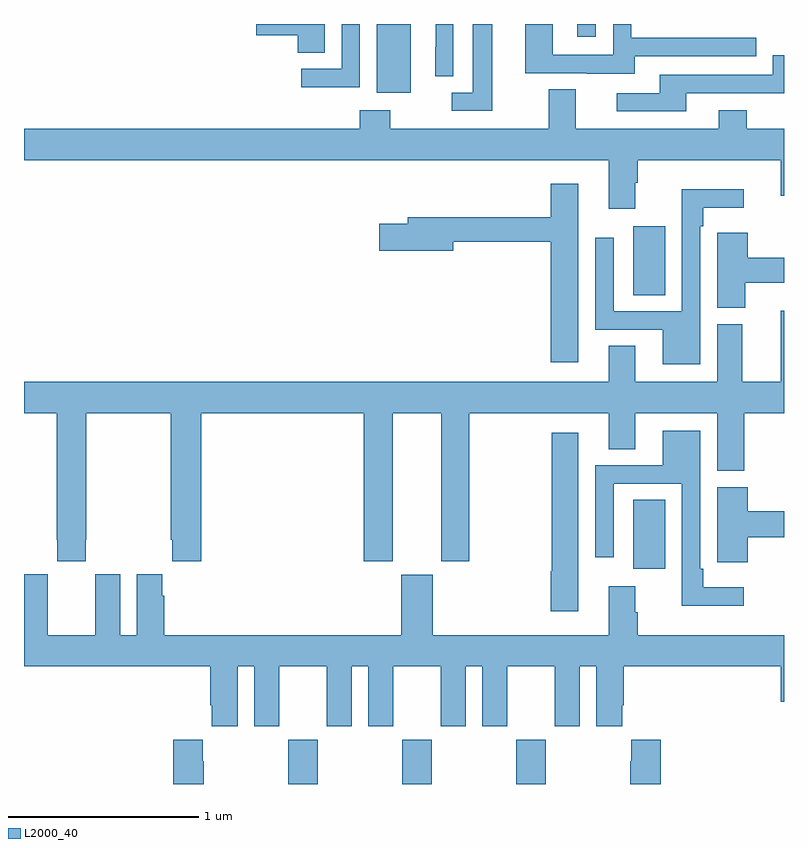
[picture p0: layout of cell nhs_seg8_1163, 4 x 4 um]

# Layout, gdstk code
import gdstk
lib = gdstk.Library(unit=1e-6, precision=1e-09)
def R(c, l, rs):  # rectangles x0, y0, x1, y1
    for r in rs: c.add(gdstk.rectangle(r[:2], r[2:], *l))
def A(c, l, x, y, w, h, nx, ny, dx, dy):  # array of equal rectangles
    R(c, l, [(x+i*dx, y+j*dy, x+i*dx+w, y+j*dy+h) for i in range(nx) for j in range(ny)])
def P(c, l, *ps):  # polygons
    for p in ps: c.add(gdstk.Polygon(p, *l))
L2000_40 = (2000, 40)

nhs_seg8_1163 = lib.new_cell('nhs_seg8_1163')
A(nhs_seg8_1163, L2000_40, 186.391, 1095.9, 0.155, 0.232, 3, 1, 0.6, 0)
R(nhs_seg8_1163, L2000_40, [(188.207,1097.034,188.374,1097.396), (188.207,1098.472,188.374,1098.835), (186.857,1099.538,187.036,1099.899), (187.913,1099.833,188.01,1099.9)])
P(nhs_seg8_1163, L2000_40, [(186.583,1099.9),(186.222,1099.9),(186.222,1099.841),(186.44,1099.841),(186.44,1099.75),(186.583,1099.75)],
  [(187.26,1099.9),(187.166,1099.9),(187.166,1099.778),(187.164,1099.778),(187.164,1099.624),(187.26,1099.624)],
  [(186.768,1099.9),(186.672,1099.9),(186.672,1099.665),(186.459,1099.665),(186.459,1099.567),(186.768,1099.567)],
  [(187.465,1099.9),(187.361,1099.9),(187.361,1099.539),(187.251,1099.539),(187.251,1099.443),(187.465,1099.443)],
  [(188.215,1099.731),(188.855,1099.731),(188.855,1099.827),(188.196,1099.827),(188.196,1099.9),(188.1,1099.9),(188.1,1099.737),(187.782,1099.737),(187.782,1099.9),(187.637,1099.9),(187.637,1099.641),(187.961,1099.641),(187.961,1099.637),(188.215,1099.637)],
  [(188.485,1099.536),(189,1099.536),(189,1099.735),(188.94,1099.735),(188.94,1099.632),(188.345,1099.632),(188.345,1099.536),(188.121,1099.536),(188.121,1099.44),(188.485,1099.44)],
  [(188.218,1099.064),(188.231,1099.064),(188.231,1099.184),(188.984,1099.184),(188.984,1098.996),(189,1098.996),(189,1099.348),(188.805,1099.348),(188.805,1099.447),(188.657,1099.447),(188.657,1099.348),(187.903,1099.348),(187.903,1099.556),(187.763,1099.556),(187.763,1099.348),(186.927,1099.348),(186.927,1099.447),(186.767,1099.447),(186.767,1099.348),(185,1099.348),(185,1099.184),(188.078,1099.184),(188.078,1098.927),(188.218,1098.927)],
  [(187.918,1099.06),(187.772,1099.06),(187.772,1098.883),(187.019,1098.883),(187.019,1098.849),(186.87,1098.849),(186.87,1098.707),(187.258,1098.707),(187.258,1098.754),(187.772,1098.754),(187.772,1098.12),(187.918,1098.12)],
  [(188.559,1098.836),(188.575,1098.836),(188.575,1098.932),(188.788,1098.932),(188.788,1099.03),(188.463,1099.03),(188.463,1098.387),(188.103,1098.387),(188.103,1098.775),(188.007,1098.775),(188.007,1098.291),(188.363,1098.291),(188.363,1098.11),(188.559,1098.11)],
  [(188.797,1098.539),(189,1098.539),(189,1098.669),(188.81,1098.669),(188.81,1098.802),(188.649,1098.802),(188.649,1098.689),(188.648,1098.689),(188.648,1098.406),(188.797,1098.406)],
  [(185.325,1097.185),(185.328,1097.185),(185.328,1097.852),(185.773,1097.852),(185.773,1097.185),(185.779,1097.185),(185.779,1097.073),(185.933,1097.073),(185.933,1097.852),(186.788,1097.852),(186.788,1097.073),(186.94,1097.073),(186.94,1097.852),(187.196,1097.852),(187.196,1097.073),(187.344,1097.073),(187.344,1097.852),(188.078,1097.852),(188.078,1097.662),(188.218,1097.662),(188.218,1097.852),(188.648,1097.852),(188.648,1097.548),(188.792,1097.548),(188.792,1097.852),(189,1097.852),(189,1098.391),(188.984,1098.391),(188.984,1098.016),(188.779,1098.016),(188.779,1098.321),(188.648,1098.321),(188.648,1098.016),(188.218,1098.016),(188.218,1098.206),(188.078,1098.206),(188.078,1098.016),(185,1098.016),(185,1097.852),(185.173,1097.852),(185.173,1097.185),(185.175,1097.185),(185.175,1097.073),(185.325,1097.073)],
  [(188.788,1096.936),(188.575,1096.936),(188.575,1097.032),(188.559,1097.032),(188.559,1097.758),(188.363,1097.758),(188.363,1097.577),(188.007,1097.577),(188.007,1097.094),(188.103,1097.094),(188.103,1097.481),(188.463,1097.481),(188.463,1096.838),(188.788,1096.838)],
  [(187.918,1097.749),(187.777,1097.749),(187.777,1097.021),(187.772,1097.021),(187.772,1096.809),(187.918,1096.809)],
  [(188.81,1097.2),(189,1097.2),(189,1097.336),(188.81,1097.336),(188.81,1097.463),(188.648,1097.463),(188.648,1097.179),(188.649,1097.179),(188.649,1097.067),(188.81,1097.067)],
  [(185.738,1096.892),(185.728,1096.892),(185.728,1097.005),(185.594,1097.005),(185.594,1096.684),(185.506,1096.684),(185.506,1097.005),(185.376,1097.005),(185.376,1096.892),(185.375,1096.892),(185.375,1096.684),(185.125,1096.684),(185.125,1096.892),(185.124,1096.892),(185.124,1097.005),(185,1097.005),(185,1096.52),(185.981,1096.52),(185.981,1096.315),(185.987,1096.315),(185.987,1096.203),(186.124,1096.203),(186.124,1096.52),(186.212,1096.52),(186.212,1096.203),(186.343,1096.203),(186.343,1096.52),(186.593,1096.52),(186.593,1096.203),(186.724,1096.203),(186.724,1096.52),(186.812,1096.52),(186.812,1096.203),(186.943,1096.203),(186.943,1096.52),(187.193,1096.52),(187.193,1096.203),(187.324,1096.203),(187.324,1096.52),(187.412,1096.52),(187.412,1096.203),(187.543,1096.203),(187.543,1096.52),(187.793,1096.52),(187.793,1096.203),(187.924,1096.203),(187.924,1096.52),(188.012,1096.52),(188.012,1096.203),(188.149,1096.203),(188.149,1096.315),(188.156,1096.315),(188.156,1096.52),(188.984,1096.52),(188.984,1096.332),(189,1096.332),(189,1096.684),(188.231,1096.684),(188.231,1096.805),(188.218,1096.805),(188.218,1096.942),(188.078,1096.942),(188.078,1096.684),(187.15,1096.684),(187.15,1097.001),(186.986,1097.001),(186.986,1096.684),(185.738,1096.684)],
  [(185.946,1096.019),(185.941,1096.019),(185.941,1096.132),(185.786,1096.132),(185.786,1095.9),(185.946,1095.9)],
  [(188.351,1096.132),(188.195,1096.132),(188.195,1096.019),(188.191,1096.019),(188.191,1095.9),(188.351,1095.9)])

lib.write_gds('nhs_seg8_1163.gds')
